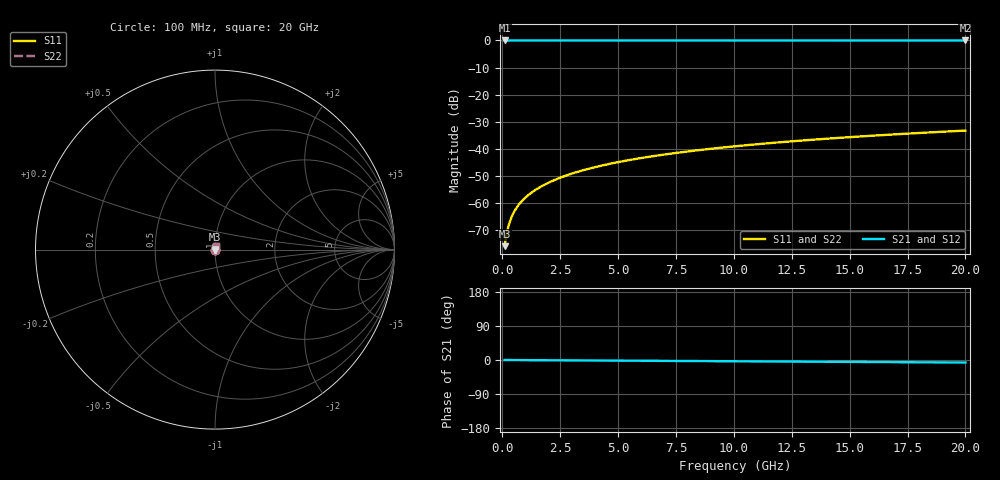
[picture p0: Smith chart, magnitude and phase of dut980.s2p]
! Touchstone file exported from HFSS 2026.1.0
!  File:  C:/ffzhzh/LocalFiles/Ansys_Project_Files/temp_train_TSV_980_1783187978_55132.aedt
!  Generated:  02:01:09 AM Jul  5, 2026
!  Design:  TSV
!  Project:  temp_train_TSV_980_1783187978_55132
! Variables:
!  h_bsmrdl = 2um
!  h_ox = 20um
!  h_rdl = 5um
!  h_sub = 59.23um
!  h_tmrdl = 5um
!  h_tsv = 59.23um
!  h_via = 3um
!  l_bsmrdl = 300um
!  l_sub = 423.2um
!  l_tmrdl = 200um
!  m_sub = 200um
!  pitch = 56.71um
!  r_tsv = 11.6um
!  s_tmrdl = 10um
!  w_bsmrdl = 18um
!  w_sub = 500um
!  w_tmrdl = 12um
!  x_tsv_center1 = 206um
!  x_tsv_center2 = 524um
!  x_tsv_center3 = 736um
!  x_tsv_center4 = 1054um
!  x_tsv_center5 = 1266um
!  x_tsv_center6 = 1584um
# GHz S MA R 50.000000
! Terminal data exported
! Port[1] = TSV1_1_T1
! Port[2] = TSV1_1_T2
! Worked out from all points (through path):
!   200 points, 100 MHz to 20 GHz, reference 50 ohm
!   highest |S21| = 0.00 dB at 100 MHz (marker M1); lowest = 0.0 dB at 20 GHz (marker M2)
!   lowest |S11| = -75.8 dB at 100 MHz (marker M3), VSWR 1.00, Z = 50 + j0.0141 ohm
!   |S11| at or under -10 dB: start of sweep to end of sweep
!   |S22| runs from -75.8 to -33.2 dB; largest |S21 - S12| = 6.8e-15
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0.1  0.0001623 60.0  0.9999 -0.0  0.9999 -0.0  0.0001623 60.0
! Gamma 0 0 0 0
! Port Impedance 50 0 50 0
0.2  0.0002933 72.1  0.9999 -0.1  0.9999 -0.1  0.0002933 72.1
0.3  0.0004268 75.9  0.9999 -0.1  0.9999 -0.1  0.0004268 75.9
0.4  0.0005575 77.5  0.9999 -0.1  0.9999 -0.1  0.0005575 77.5
0.5  0.0006845 78.4  0.9999 -0.2  0.9999 -0.2  0.0006845 78.4
0.6  0.0008078 78.9  0.9998 -0.2  0.9998 -0.2  0.0008078 78.9
0.7  0.0009281 79.3  0.9998 -0.2  0.9998 -0.2  0.0009281 79.3
0.9  0.001162 79.9  0.9998 -0.3  0.9998 -0.3  0.001162 79.9
1.1  0.00139 80.5  0.9998 -0.4  0.9998 -0.4  0.00139 80.5
1.3  0.001615 81.0  0.9998 -0.4  0.9998 -0.4  0.001615 81.0
1.6  0.001951 81.7  0.9997 -0.5  0.9997 -0.5  0.001951 81.7
1.9  0.002287 82.3  0.9997 -0.6  0.9997 -0.6  0.002287 82.3
2.6  0.00307 83.1  0.9997 -0.9  0.9997 -0.9  0.00307 83.1
3.5  0.004075 83.7  0.9996 -1.2  0.9996 -1.2  0.004075 83.7
4.2  0.004852 83.8  0.9996 -1.4  0.9996 -1.4  0.004852 83.8
5  0.005736 83.9  0.9995 -1.7  0.9995 -1.7  0.005736 83.9
6.8  0.007708 83.9  0.9995 -2.3  0.9995 -2.3  0.007708 83.9
8.3  0.009339 83.7  0.9994 -2.8  0.9994 -2.8  0.009339 83.7
10.1  0.01129 83.4  0.9993 -3.4  0.9993 -3.4  0.01129 83.4
13.4  0.01484 82.8  0.9992 -4.5  0.9992 -4.5  0.01484 82.8
16.7  0.01837 81.9  0.999 -5.6  0.999 -5.6  0.01837 81.9
20  0.02187 81.0  0.9989 -6.7  0.9989 -6.7  0.02187 81.0
